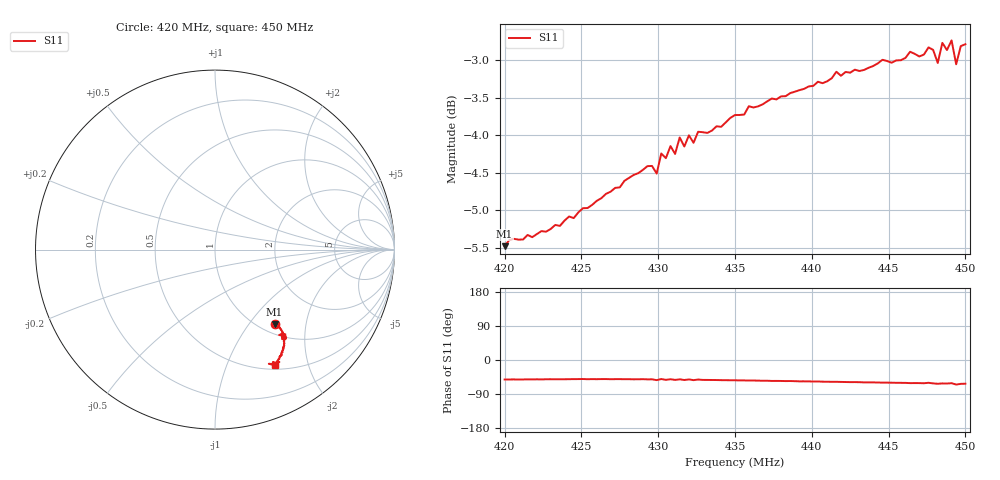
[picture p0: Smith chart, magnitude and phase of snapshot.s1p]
! User-confirmed Nitinol dipole; existing SOL calibration retained; no balun
# Hz S RI R 50
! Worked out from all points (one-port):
!   101 points, 420 MHz to 450 MHz, reference 50 ohm
!   lowest |S11| = -5.5 dB at 420 MHz (marker M1), VSWR 3.28, Z = 57.8 - j67.2 ohm
!   |S11| at or under -10 dB: nowhere
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4.2e8  0.3318 -0.4164
4.239e8  0.35 -0.429
4.275e8  0.3709 -0.4493
4.296e8  0.3794 -0.4673
4.299e8  0.3569 -0.4761
4.302e8  0.3923 -0.4718
4.305e8  0.3717 -0.4827
4.308e8  0.3932 -0.4801
4.311e8  0.3729 -0.4868
4.314e8  0.3964 -0.4882
4.317e8  0.3751 -0.4939
4.32e8  0.3952 -0.4917
4.323e8  0.3741 -0.4991
4.326e8  0.3946 -0.4966
4.332e8  0.3845 -0.5031
4.35e8  0.3871 -0.523
4.389e8  0.3784 -0.5582
4.425e8  0.3642 -0.5911
4.464e8  0.3474 -0.627
4.473e8  0.3425 -0.6262
4.476e8  0.3588 -0.6261
4.482e8  0.3227 -0.6264
4.485e8  0.3431 -0.6406
4.488e8  0.3364 -0.6352
4.491e8  0.3515 -0.6391
4.494e8  0.2999 -0.6361
4.497e8  0.3288 -0.644
4.5e8  0.334 -0.6437
